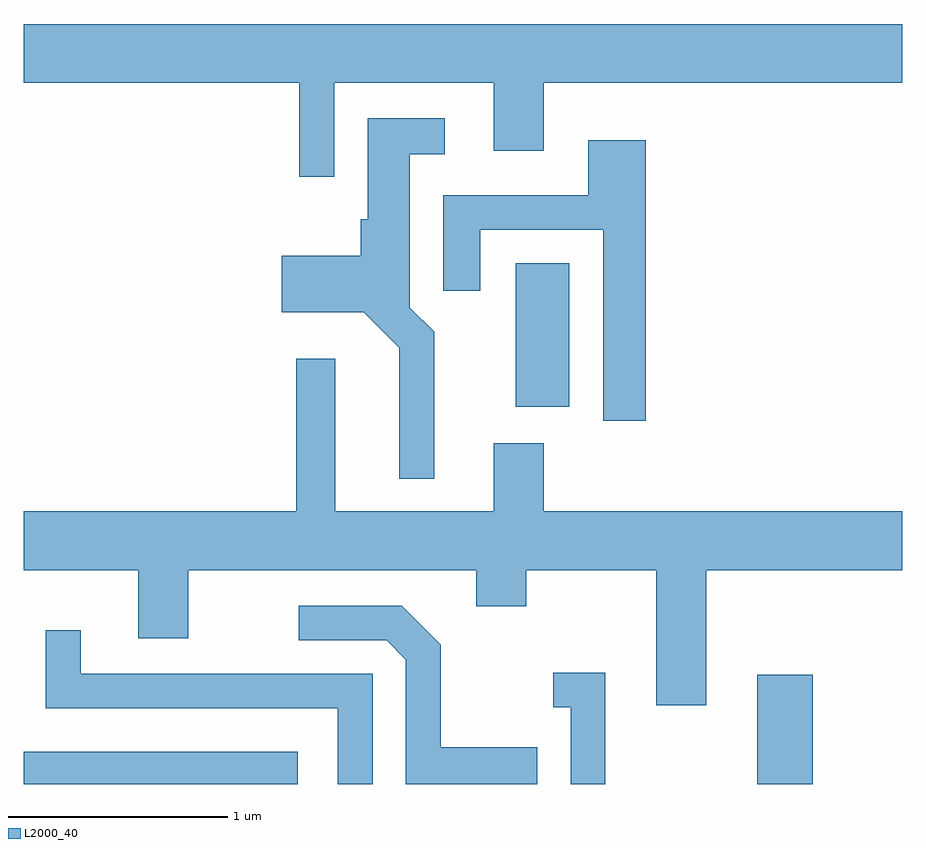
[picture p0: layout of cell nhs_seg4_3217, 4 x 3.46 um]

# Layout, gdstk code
import gdstk
lib = gdstk.Library(unit=1e-6, precision=1e-09)
def R(c, l, rs):  # rectangles x0, y0, x1, y1
    for r in rs: c.add(gdstk.rectangle(r[:2], r[2:], *l))
def P(c, l, *ps):  # polygons
    for p in ps: c.add(gdstk.Polygon(p, *l))
L2000_40 = (2000, 40)

nhs_seg4_3217 = lib.new_cell('nhs_seg4_3217')
R(nhs_seg4_3217, L2000_40, [(279.611,1295.982,280.859,1296.129), (282.951,1295.982,283.204,1296.479), (281.851,1297.701,282.094,1298.354)])
P(nhs_seg4_3217, L2000_40, [(281.024,1299.176),(281.751,1299.176),(281.751,1298.866),(281.979,1298.866),(281.979,1299.176),(283.611,1299.176),(283.611,1299.444),(279.611,1299.444),(279.611,1299.176),(280.866,1299.176),(280.866,1298.748),(281.024,1298.748)],
  [(281.479,1298.042),(281.369,1298.152),(281.369,1298.851),(281.528,1298.851),(281.528,1299.014),(281.176,1299.014),(281.176,1298.554),(281.146,1298.554),(281.146,1298.389),(280.786,1298.389),(280.786,1298.131),(281.159,1298.131),(281.321,1297.969),(281.321,1297.373),(281.479,1297.373)],
  [(282.444,1298.914),(282.181,1298.914),(282.181,1298.664),(281.521,1298.664),(281.521,1298.228),(281.689,1298.228),(281.689,1298.506),(282.251,1298.506),(282.251,1297.636),(282.444,1297.636)],
  [(282.719,1296.956),(283.611,1296.956),(283.611,1297.224),(281.979,1297.224),(281.979,1297.534),(281.751,1297.534),(281.751,1297.224),(281.029,1297.224),(281.029,1297.919),(280.851,1297.919),(280.851,1297.224),(279.611,1297.224),(279.611,1296.956),(280.131,1296.956),(280.131,1296.646),(280.359,1296.646),(280.359,1296.956),(281.671,1296.956),(281.671,1296.791),(281.899,1296.791),(281.899,1296.956),(282.491,1296.956),(282.491,1296.341),(282.719,1296.341)],
  [(281.949,1296.149),(281.509,1296.149),(281.509,1296.617),(281.332,1296.794),(280.863,1296.794),(280.863,1296.636),(281.264,1296.636),(281.351,1296.549),(281.351,1295.982),(281.949,1295.982)],
  [(281.199,1296.484),(279.869,1296.484),(279.869,1296.683),(279.711,1296.683),(279.711,1296.326),(281.041,1296.326),(281.041,1295.982),(281.199,1295.982)],
  [(282.259,1296.489),(282.023,1296.489),(282.023,1296.331),(282.101,1296.331),(282.101,1295.982),(282.259,1295.982)])

lib.write_gds('nhs_seg4_3217.gds')
